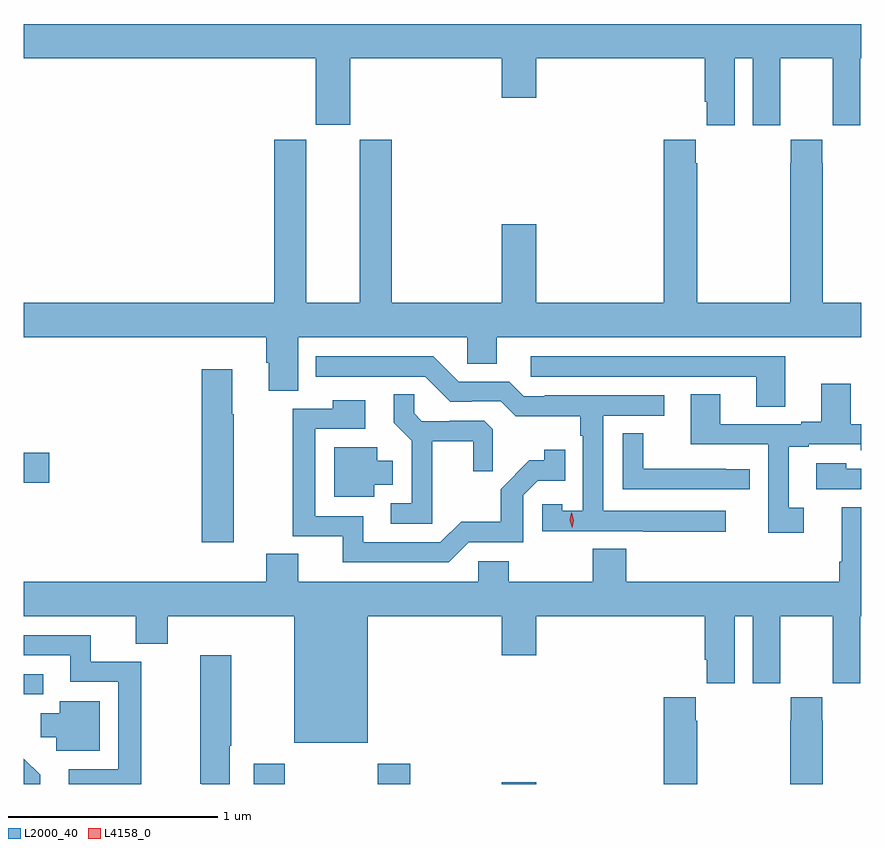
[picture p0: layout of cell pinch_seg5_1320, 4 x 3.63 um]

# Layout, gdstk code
import gdstk
lib = gdstk.Library(unit=1e-6, precision=1e-09)
def R(c, l, rs):  # rectangles x0, y0, x1, y1
    for r in rs: c.add(gdstk.rectangle(r[:2], r[2:], *l))
def P(c, l, *ps):  # polygons
    for p in ps: c.add(gdstk.Polygon(p, *l))
L2000_40 = (2000, 40)
L4158_0 = (4158, 0)

pinch_seg5_1320 = lib.new_cell('pinch_seg5_1320')
R(pinch_seg5_1320, L2000_40, [(283.703,882.598,283.851,882.694), (284.296,882.598,284.451,882.694), (284.888,882.598,285.052,882.607), (282.605,883.026,282.697,883.122), (282.605,884.038,282.727,884.18)])
P(pinch_seg5_1320, L2000_40, [(286,886.064),(286.088,886.064),(286.088,885.744),(286.218,885.744),(286.218,885.856),(286.219,885.856),(286.219,886.064),(286.469,886.064),(286.469,885.856),(286.47,885.856),(286.47,885.744),(286.6,885.744),(286.6,886.064),(286.605,886.064),(286.605,886.228),(282.605,886.228),(282.605,886.064),(284,886.064),(284,885.747),(284.164,885.747),(284.164,886.064),(284.888,886.064),(284.888,885.876),(285.052,885.876),(285.052,886.064),(285.857,886.064),(285.857,885.856),(285.866,885.856),(285.866,885.744),(286,885.744)],
  [(283.915,884.732),(284.724,884.732),(284.724,884.605),(284.863,884.605),(284.863,884.732),(286.605,884.732),(286.605,884.896),(286.422,884.896),(286.422,885.563),(286.419,885.563),(286.419,885.676),(286.269,885.676),(286.269,885.563),(286.267,885.563),(286.267,884.896),(285.822,884.896),(285.822,885.563),(285.815,885.563),(285.815,885.676),(285.662,885.676),(285.662,884.896),(285.052,884.896),(285.052,885.271),(284.888,885.271),(284.888,884.896),(284.363,884.896),(284.363,885.675),(284.21,885.675),(284.21,884.896),(283.954,884.896),(283.954,885.675),(283.802,885.675),(283.802,884.896),(282.605,884.896),(282.605,884.732),(283.763,884.732),(283.763,884.61),(283.775,884.61),(283.775,884.476),(283.915,884.476)],
  [(286.243,884.64),(285.027,884.64),(285.027,884.544),(286.103,884.544),(286.103,884.401),(286.243,884.401)],
  [(285.958,883.902),(285.372,883.902),(285.372,884.358),(285.664,884.358),(285.664,884.454),(285.094,884.454),(285.094,884.451),(284.994,884.451),(284.925,884.52),(284.682,884.52),(284.562,884.64),(284,884.64),(284,884.544),(284.523,884.544),(284.643,884.424),(284.744,884.424),(284.744,884.427),(284.883,884.427),(284.956,884.354),(285.264,884.354),(285.264,884.261),(285.276,884.261),(285.276,883.903),(285.177,883.903),(285.177,883.935),(285.081,883.935),(285.081,883.806),(285.565,883.806),(285.565,883.804),(285.958,883.804)],
  [(283.608,884.365),(283.6,884.365),(283.6,884.578),(283.454,884.578),(283.454,883.752),(283.608,883.752)],
  [(286.33,883.917),(286.258,883.917),(286.258,884.208),(286.354,884.208),(286.354,884.22),(286.602,884.22),(286.602,884.193),(286.605,884.193),(286.605,884.316),(286.555,884.316),(286.555,884.509),(286.415,884.509),(286.415,884.329),(286.319,884.329),(286.319,884.316),(285.931,884.316),(285.931,884.459),(285.791,884.459),(285.791,884.22),(286.161,884.22),(286.161,883.797),(286.33,883.797)],
  [(284.555,884.234),(284.752,884.234),(284.752,884.091),(284.846,884.091),(284.846,884.293),(284.805,884.334),(284.64,884.334),(284.64,884.331),(284.506,884.331),(284.469,884.368),(284.469,884.459),(284.371,884.459),(284.371,884.323),(284.457,884.237),(284.457,883.938),(284.358,883.938),(284.358,883.842),(284.555,883.842)],
  [(284.73,883.752),(284.991,883.752),(284.991,883.977),(285.06,884.046),(285.191,884.046),(285.191,884.194),(285.09,884.194),(285.09,884.144),(285.02,884.144),(284.883,884.006),(284.883,883.851),(284.694,883.851),(284.595,883.752),(284.227,883.752),(284.227,883.878),(283.998,883.878),(283.998,884.295),(284.236,884.295),(284.236,884.431),(284.08,884.431),(284.08,884.391),(283.89,884.391),(283.89,883.782),(284.129,883.782),(284.129,883.656),(284.634,883.656)],
  [(286.072,884.102),(285.959,884.102),(285.959,884.103),(285.564,884.103),(285.564,884.273),(285.465,884.273),(285.465,884.007),(286.072,884.007)],
  [(284.278,884.027),(284.368,884.027),(284.368,884.143),(284.293,884.143),(284.293,884.206),(284.087,884.206),(284.087,883.97),(284.278,883.97)],
  [(286.605,884.103),(286.533,884.103),(286.533,884.131),(286.389,884.131),(286.389,884.007),(286.605,884.007)],
  [(286.6,883.4),(286.605,883.4),(286.605,883.921),(286.511,883.921),(286.511,883.66),(286.499,883.66),(286.499,883.564),(285.482,883.564),(285.482,883.721),(285.322,883.721),(285.322,883.564),(284.922,883.564),(284.922,883.662),(284.775,883.662),(284.775,883.564),(283.915,883.564),(283.915,883.697),(283.763,883.697),(283.763,883.564),(282.605,883.564),(282.605,883.4),(283.139,883.4),(283.139,883.267),(283.292,883.267),(283.292,883.4),(283.898,883.4),(283.898,882.794),(284.248,882.794),(284.248,883.4),(284.888,883.4),(284.888,883.212),(285.052,883.212),(285.052,883.4),(285.857,883.4),(285.857,883.192),(285.866,883.192),(285.866,883.08),(286,883.08),(286,883.4),(286.088,883.4),(286.088,883.08),(286.218,883.08),(286.218,883.192),(286.219,883.192),(286.219,883.4),(286.469,883.4),(286.469,883.192),(286.47,883.192),(286.47,883.08),(286.6,883.08)],
  [(283.165,883.182),(282.926,883.182),(282.926,883.308),(282.605,883.308),(282.605,883.212),(282.827,883.212),(282.827,883.086),(283.056,883.086),(283.056,882.669),(282.819,882.669),(282.819,882.598),(283.165,882.598)],
  [(283.588,882.781),(283.596,882.781),(283.596,883.213),(283.447,883.213),(283.447,882.599),(283.454,882.599),(283.454,882.598),(283.588,882.598)],
  [(285.822,882.899),(285.815,882.899),(285.815,883.012),(285.662,883.012),(285.662,882.598),(285.822,882.598)],
  [(282.967,882.994),(282.776,882.994),(282.776,882.937),(282.686,882.937),(282.686,882.821),(282.761,882.821),(282.761,882.758),(282.967,882.758)],
  [(286.269,883.012),(286.269,882.899),(286.267,882.899),(286.267,882.598),(286.422,882.598),(286.422,882.899),(286.419,882.899),(286.419,883.012)],
  [(282.683,882.641),(282.605,882.719),(282.605,882.598),(282.683,882.598)])
P(pinch_seg5_1320, L4158_0, [(285.224,883.821),(285.224,883.822),(285.213,883.857),(285.221,883.893),(285.222,883.893),(285.222,883.893),(285.233,883.858),(285.224,883.822)])

lib.write_gds('pinch_seg5_1320.gds')
